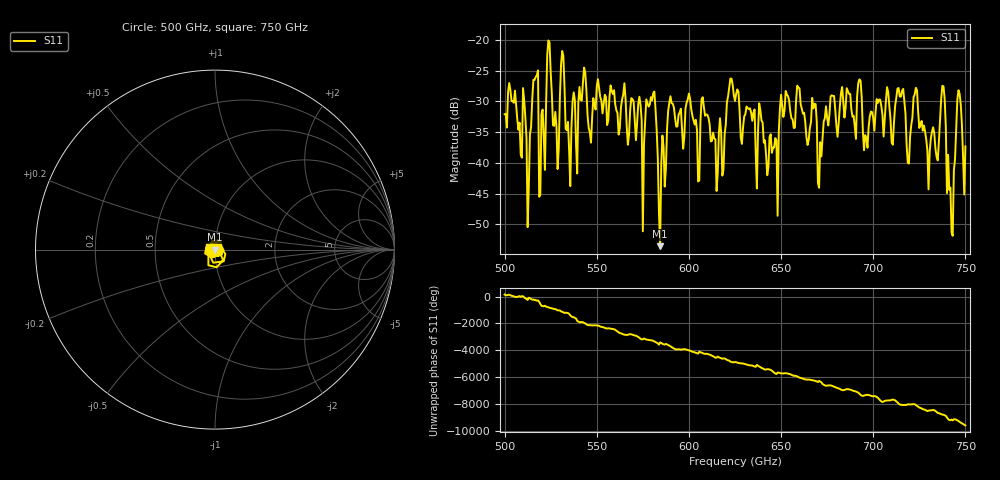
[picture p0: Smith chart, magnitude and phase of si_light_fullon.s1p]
!Created with skrf (http://scikit-rf.org).
# GHz S MA R 50.0
!freq magS11 angS11
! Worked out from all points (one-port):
!   401 points, 500 GHz to 750 GHz, reference 50 ohm
!   lowest |S11| = -53.5 dB at 584.4 GHz (marker M1), VSWR 1.00, Z = 49.8 - j0.0343 ohm
!   |S11| at or under -10 dB: start of sweep to end of sweep
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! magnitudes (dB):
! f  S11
! 500 GHz  -32.1
! 513.1 GHz  -43.9
! 516.9 GHz  -26.1
! 520 GHz  -32.1
! 523.8 GHz  -20.1
! 528.1 GHz  -34.0
! 531.2 GHz  -21.8
! 534.4 GHz  -33.3
! 543.1 GHz  -24.5
! 562.5 GHz  -34.3
! 580.6 GHz  -28.7
! 584.4 GHz  -53.5
! 593.8 GHz  -34.1
! 615 GHz  -44.6
! 625 GHz  -29.9
! 641.9 GHz  -38.8
! 656.2 GHz  -32.9
! 668.1 GHz  -30.4
! 671.2 GHz  -36.6
! 687.5 GHz  -28.8
! 715 GHz  -29.3
! 718.8 GHz  -40.0
! 723.1 GHz  -27.8
! 734.4 GHz  -39.0
! 737.5 GHz  -27.5
! 742.5 GHz  -51.3
! 746.2 GHz  -28.2
! 750 GHz  -37.3
